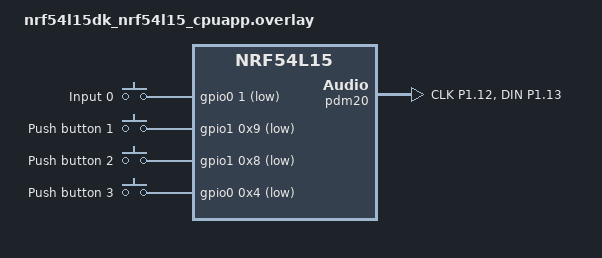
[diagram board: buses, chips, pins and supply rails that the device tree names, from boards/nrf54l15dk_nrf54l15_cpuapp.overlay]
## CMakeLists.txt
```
#
# Copyright (c) 2018 Nordic Semiconductor
#
# SPDX-License-Identifier: LicenseRef-Nordic-5-Clause
#
cmake_minimum_required(VERSION 3.20.0)

find_package(Zephyr REQUIRED HINTS $ENV{ZEPHYR_BASE})
project(ble_opus)

set(OPUS_LIBRARY_ROOT ${CMAKE_CURRENT_LIST_DIR}/../lib CACHE PATH "Opus library root directory")
set(ENV{OPUS_LIBRARY_ROOT} $OPUS_LIBRARY_ROOT)

zephyr_link_libraries(-mfloat-abi=hard)
zephyr_link_libraries(-mfpu=fpv4-sp-d16 -ffunction-sections -fdata-sections -fno-strict-aliasing -mthumb -mabi=aapcs)

# NORDIC SDK APP START
target_sources(app PRIVATE
  src/main.c
  src/ble_app.c
  src/sound_service.c
  src/drivers/drv_mic.c
  src/events/mic_work_event.c
)

# NORDIC SDK APP END
zephyr_library_include_directories(src/drivers/)
zephyr_library_include_directories(src/events/)
# zephyr_library_include_directories(../lib/adpcm_lib)
zephyr_include_directories(../lib/opus/opus_include/opus-1.2.1)
zephyr_include_directories(../lib/opus/opus_configuration)
target_link_libraries(app PRIVATE ${OPUS_LIBRARY_ROOT}/opus/opus_library/opus_lib.a)

# NORDIC SDK APP END
```

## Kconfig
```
#
# Copyright (c) 2018 Nordic Semiconductor
#
# SPDX-License-Identifier: LicenseRef-Nordic-5-Clause
#

source "Kconfig.zephyr"

menu "Nordic UART BLE GATT service sample"

config BT_NUS_THREAD_STACK_SIZE
	int "Thread stack size"
	default 1024
	help
	  Stack size used in each of the two threads

config BT_NUS_UART_BUFFER_SIZE
	int "UART payload buffer element size"
	default 40
	help
	  Size of the payload buffer in each RX and TX FIFO element

config BT_NUS_SECURITY_ENABLED
	bool "Enable security"
	default y
	select BT_SMP
	help
	  "Enable BLE security for the UART service"

config BT_NUS_UART_RX_WAIT_TIME
	int "Timeout for UART RX complete event"
	default 50000
	help
	  Wait for RX complete event time in microseconds

config BT_OPUS_LOG_LEVEL
	int "Log level for this sample"
	default 3


config SETTINGS
	default y

config ZMS
	default y if (SOC_FLASH_NRF_RRAM || SOC_FLASH_NRF_MRAM)

config NVS
	default y if !(SOC_FLASH_NRF_RRAM || SOC_FLASH_NRF_MRAM)

endmenu
```

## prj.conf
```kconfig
#
# Copyright (c) 2018 Nordic Semiconductor
#
# SPDX-License-Identifier: LicenseRef-Nordic-5-Clause
#

# Enable the UART driver
CONFIG_UART_ASYNC_API=y
CONFIG_NRFX_UARTE0=y
CONFIG_SERIAL=y

CONFIG_GPIO=y

# Make sure printk is printing to the UART console
CONFIG_CONSOLE=y
CONFIG_UART_CONSOLE=y

CONFIG_HEAP_MEM_POOL_SIZE=4096
CONFIG_MAIN_STACK_SIZE=4096
CONFIG_SYSTEM_WORKQUEUE_STACK_SIZE=4096

CONFIG_BT=y
CONFIG_BT_PERIPHERAL=y
CONFIG_BT_DEVICE_NAME="ble_microphone_2"
CONFIG_BT_MAX_CONN=1
CONFIG_BT_MAX_PAIRED=1

# Use connection parameters that ensure quick data transfer, CI=20ms
CONFIG_BT_PERIPHERAL_PREF_MIN_INT=12
CONFIG_BT_PERIPHERAL_PREF_MAX_INT=12
CONFIG_BT_PERIPHERAL_PREF_LATENCY=0
CONFIG_BT_PERIPHERAL_PREF_TIMEOUT=400
CONFIG_BT_CTLR_SDC_MAX_CONN_EVENT_LEN_DEFAULT=10000

# update PHY to 2M
CONFIG_BT_USER_PHY_UPDATE=y
CONFIG_BT_CTLR_PHY_2M=y
CONFIG_BT_AUTO_PHY_UPDATE=y

# update MTU to 247
CONFIG_BT_USER_DATA_LEN_UPDATE=y
CONFIG_BT_CTLR_DATA_LENGTH_MAX=251
CONFIG_BT_BUF_ACL_RX_SIZE=251
CONFIG_BT_BUF_ACL_TX_SIZE=251
CONFIG_BT_L2CAP_TX_MTU=247
CONFIG_BT_BUF_EVT_RX_COUNT=11
CONFIG_BT_BUF_ACL_TX_COUNT=10
CONFIG_BT_ATT_TX_COUNT=10
CONFIG_BT_CONN_TX_MAX=10
CONFIG_BT_AUTO_DATA_LEN_UPDATE=y


# Enable the NUS service
CONFIG_BT_NUS=y

# Enable bonding
CONFIG_BT_SETTINGS=y
CONFIG_FLASH=y
CONFIG_FLASH_PAGE_LAYOUT=y
CONFIG_FLASH_MAP=y

# Enable DK LED and Buttons library
CONFIG_DK_LIBRARY=y

#PDM
CONFIG_AUDIO=y
CONFIG_AUDIO_DMIC=y

# Application Event Manager
CONFIG_APP_EVENT_MANAGER=y

CONFIG_THREAD_NAME=y

CONFIG_FPU=y

# Config logger
CONFIG_LOG=y
CONFIG_USE_SEGGER_RTT=n
CONFIG_LOG_BACKEND_RTT=n
CONFIG_LOG_BACKEND_UART=y
CONFIG_LOG_PRINTK=y

CONFIG_BT_GATT_LOG_LEVEL_OFF=y
CONFIG_BT_ATT_LOG_LEVEL_OFF=y

CONFIG_ASSERT=y
```

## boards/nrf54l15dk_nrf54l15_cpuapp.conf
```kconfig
#
# Copyright (c) 2024 Nordic Semiconductor
#
# SPDX-License-Identifier: LicenseRef-Nordic-5-Clause
#

# Disable the unspupported UART0 driver
CONFIG_NRFX_UARTE30=n
```

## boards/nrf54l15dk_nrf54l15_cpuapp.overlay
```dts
/*
 * Copyright (c) 2024 Nordic Semiconductor ASA
 *
 * SPDX-License-Identifier: LicenseRef-Nordic-5-Clause
 */

// / {
// 	chosen {
// 		nordic,nus-uart = &uart20;
// 	};
// };


/{
	soc {
		/delete-node/ cpuflpr_sram;
		/delete-node/ uart30;
	};

	/*
	 * Redefine button1 to use RXD0 - P0.01
	 * Thus, when sending character from host, there will be gpio interrupt,
	 * the same as originally triggered by sw0 button.
	 */
	buttons {
		compatible = "gpio-keys";

		button0: button_0 {
			gpios = <&gpio0 1 0x11 >;
			label = "Input 0";
			zephyr,code = <INPUT_KEY_0>;
		};
		button1: button_1 {
			gpios = < &gpio1 0x9 0x11 >; 
			label = "Push button 1";     
			zephyr,code = < 0x2 >;       
		};
		button2: button_2 {
			gpios = < &gpio1 0x8 0x11 >; 
			label = "Push button 2";   
			zephyr,code = < 0x3 >;       
		};
		button3: button_3 {
			gpios = < &gpio0 0x4 0x11 >; 
			label = "Push button 3";    
			zephyr,code = < 0x4 >;    
		};
	};
};



&pinctrl {
	pdm20_default_alt: pdm20_default_alt {
		group1 {
			psels = <NRF_PSEL(PDM_CLK, 1, 12)>,
				<NRF_PSEL(PDM_DIN, 1, 13)>;
		};
	};
};

dmic_dev: &pdm20 {
	status = "okay";
	pinctrl-0 = <&pdm20_default_alt>;
	pinctrl-names = "default";
	clock-source = "PCLK32M";
};

&cpuapp_sram {
	reg = <0x20000000 DT_SIZE_K(250)>;
	ranges = <0x0 0x20000000 DT_SIZE_K(250)>;
};
```

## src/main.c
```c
/*
 * Copyright (c) 2018 Nordic Semiconductor ASA
 *
 * SPDX-License-Identifier: LicenseRef-Nordic-5-Clause
 */

/** @file
 *  @brief Nordic UART Bridge Service (NUS) sample
 */
#include <uart_async_adapter.h>

#include <zephyr/types.h>
#include <zephyr/kernel.h>
#include <zephyr/drivers/uart.h>
#include <zephyr/usb/usb_device.h>

#include <zephyr/device.h>
#include <zephyr/devicetree.h>
#include <soc.h>

#include <dk_buttons_and_leds.h>
#include <stdio.h>
#include <string.h>

#include <zephyr/logging/log.h>

#include "main.h"
#include "drv_mic.h"
#include "mic_work_event.h"
#include "ble_app.h"


LOG_MODULE_REGISTER(LOG_MODULE_NAME, CONFIG_BT_OPUS_LOG_LEVEL);

#define FW_VERSION					"1.1.7"

K_FIFO_DEFINE(fifo_uart_rx_data);


void error(void)
{
	LOG_ERR("Device enter error!!!!!!!!!!!!!");
	dk_set_leds_state(DK_ALL_LEDS_MSK, DK_NO_LEDS_MSK);

	while (true) {
		/* Spin for ever */
		k_sleep(K_MSEC(1000));
	}
}

void button_changed(uint32_t button_state, uint32_t has_changed)
{
	static bool button_flag = false;
	uint32_t buttons = button_state & has_changed;

	// LOG_INF("Button pressed at %d	 button_flag=0x%08X\n", k_cycle_get_32(), buttons);
	if(buttons & KEY_MICROPHONE_SWITCH)
	{
		button_flag = !button_flag;
	 

	// wake up device and trigger micphone to work
		if(button_flag)
		{
			struct mic_work_event *mic_event = new_mic_work_event();
			mic_event->type = MIC_STATUS_START;
			APP_EVENT_SUBMIT(mic_event);
		}
		else
		{
			struct mic_work_event *mic_event = new_mic_work_event();
			mic_event->type = MIC_STATUS_STOP;
			APP_EVENT_SUBMIT(mic_event);
		}
	}
#ifdef CONFIG_BT_NUS_SECURITY_ENABLED
	else
	{
		confirm_pair_passkey(buttons);
	}
#endif
}


static void configure_gpio(void)
{
	int err;

	err = dk_buttons_init(button_changed);
	if (err) {
		LOG_ERR("Cannot init buttons (err: %d)", err);
	}

	err = dk_leds_init();
	if (err) {
		LOG_ERR("Cannot init LEDs (err: %d)", err);
	}
}

int main(void)
{
	// int blink_status = 0;
	int err = 0;

	LOG_WRN("BLE microphone sample is running, the version is %s\n", FW_VERSION);

	configure_gpio();

	drv_audio_init();

	err = app_event_manager_init();
	if (err) {
		LOG_ERR("Unable to init Application Event Manager (%d)", err);
		return err;
	}

	err = ble_app_init();
	if (err) {
		error();
	}

	// for (;;) {
	// 	// for(uint8_t i = 0; i<4; i++)
	// 	// {
	// 	// 	dk_set_led(i, (blink_status) % 2);
	// 	// }
	// 	// blink_status++;

	// 	dk_set_led(RUN_STATUS_LED, (++blink_status) % 2);
	// 	k_sleep(K_MSEC(RUN_LED_BLINK_INTERVAL));
	// }
}
```

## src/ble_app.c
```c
#include <zephyr/kernel.h>
#include <zephyr/settings/settings.h>
#include <stdio.h>
#include <string.h>

#include <zephyr/bluetooth/bluetooth.h>
#include <zephyr/bluetooth/uuid.h>
#include <zephyr/bluetooth/gatt.h>
#include <zephyr/bluetooth/hci.h>
#include <bluetooth/services/nus.h>
#include <dk_buttons_and_leds.h>
#include <zephyr/logging/log.h>
#include "ble_app.h"
#include "main.h"
#include "sound_service.h"


LOG_MODULE_DECLARE(LOG_MODULE_NAME);


#define STACKSIZE           CONFIG_BT_NUS_THREAD_STACK_SIZE
#define PRIORITY            7

static K_SEM_DEFINE(ble_init_ok, 0, 1);

static struct bt_conn *current_conn;
static struct bt_conn *auth_conn;
static struct k_work adv_work;

static uint8_t device_state = 0;


static const struct bt_data ad[] = {
	BT_DATA_BYTES(BT_DATA_FLAGS, (BT_LE_AD_GENERAL | BT_LE_AD_NO_BREDR)),
	BT_DATA(BT_DATA_NAME_COMPLETE, DEVICE_NAME, DEVICE_NAME_LEN),
};

static const struct bt_data sd[] = {
	BT_DATA_BYTES(BT_DATA_UUID128_ALL, BT_UUID_NUS_VAL),
};


static void adv_work_handler(struct k_work *work)
{
	int err = bt_le_adv_start(BT_LE_ADV_CONN_FAST_2, ad, ARRAY_SIZE(ad), sd, ARRAY_SIZE(sd));

	if (err) {
		LOG_ERR("Advertising failed to start (err %d)", err);
		return;
	}

	LOG_INF("Advertising successfully started");
}

static void advertising_start(void)
{
	k_work_submit(&adv_work);
}


// set device state
static void set_device_status(uint8_t bitmask, int value) {
    if (value == 1) {
        device_state |= bitmask;  // set bit to 1
    } else {
        device_state &= ~bitmask; // set bit to 0
    }
}

// get device state
static uint8_t get_device_status(void) {
    // return (device_state & bitmask) ? 1 : 0;  
	return device_state;
}


static void connected(struct bt_conn *conn, uint8_t err)
{
	char addr[BT_ADDR_LE_STR_LEN];

	if (err) {
		LOG_ERR("Connection failed, err 0x%02x %s", err, bt_hci_err_to_str(err));
		return;
	}

	bt_addr_le_to_str(bt_conn_get_dst(conn), addr, sizeof(addr));
	LOG_INF("Connected %s", addr);

	current_conn = bt_conn_ref(conn);

	dk_set_led_on(CON_STATUS_LED);

	set_device_status(STATUS_CONNECTED, 1);    //set the device status to connected
	set_device_status(STATUS_ADVERTISING, 0);    //clean the advertising status

	k_sem_give(&ble_init_ok);

	struct bt_conn_info info;
	err = bt_conn_get_info(conn, &info);
	if (err) {
		LOG_ERR("bt_conn_get_info() returned %d", err);
		return;
	}
	double connection_interval = info.le.interval*1.25; // in ms
	uint16_t supervision_timeout = info.le.timeout*10; // in ms
	LOG_INF("Connection parameters: interval %.2f ms, latency %d intervals, timeout %d ms", 
			connection_interval, info.le.latency, supervision_timeout);
}

static void disconnected(struct bt_conn *conn, uint8_t reason)
{
	char addr[BT_ADDR_LE_STR_LEN];

	bt_addr_le_to_str(bt_conn_get_dst(conn), addr, sizeof(addr));

	LOG_INF("Disconnected: %s, reason 0x%02x %s", addr, reason, bt_hci_err_to_str(reason));

	if (auth_conn) {
		bt_conn_unref(auth_conn);
		auth_conn = NULL;
	}

	if (current_conn) {
		bt_conn_unref(current_conn);
		current_conn = NULL;
		dk_set_led_off(CON_STATUS_LED);
	}

	set_device_status(STATUS_CONNECTED | STATUS_PAIRED, 0);    //set the device status to disconnected
}

static void recycled_cb(void)
{
	LOG_INF("Connection object available from previous conn. Disconnect is complete!");
	advertising_start();
}

static void on_le_phy_updated(struct bt_conn *conn, struct bt_conn_le_phy_info *param)
{
	// PHY Updated
	if (param->tx_phy == BT_CONN_LE_TX_POWER_PHY_1M) {
		LOG_INF("PHY updated. New PHY: 1M");
	}
	else if (param->tx_phy == BT_CONN_LE_TX_POWER_PHY_2M) {
		LOG_INF("PHY updated. New PHY: 2M");
	}
	else if (param->tx_phy == BT_CONN_LE_TX_POWER_PHY_CODED_S8) {
		LOG_INF("PHY updated. New PHY: Long Range");
	}
}

static void on_le_data_len_updated(struct bt_conn *conn, struct bt_conn_le_data_len_info *info)
{
	uint16_t tx_len     = info->tx_max_len; 
	uint16_t tx_time    = info->tx_max_time;
	uint16_t rx_len     = info->rx_max_len;
	uint16_t rx_time    = info->rx_max_time;
	LOG_INF("Data length updated. Length %d/%d bytes, time %d/%d us", tx_len, rx_len, tx_time, rx_time);
}

#ifdef CONFIG_BT_NUS_SECURITY_ENABLED
static void security_changed(struct bt_conn *conn, bt_security_t level,
			     enum bt_security_err err)
{
	char addr[BT_ADDR_LE_STR_LEN];

	bt_addr_le_to_str(bt_conn_get_dst(conn), addr, sizeof(addr));

	if (!err) {
		LOG_INF("Security changed: %s level %u", addr, level);
	} else {
		LOG_WRN("Security failed: %s level %u err %d %s", addr, level, err,
			bt_security_err_to_str(err));
	}
}
#endif

BT_CONN_CB_DEFINE(conn_callbacks) = {
	.connected        = connected,
	.disconnected     = disconnected,
	.recycled         = recycled_cb,
	.le_phy_updated     = on_le_phy_updated,
	.le_data_len_updated    = on_le_data_len_updated,
#ifdef CONFIG_BT_NUS_SECURITY_ENABLED
	.security_changed = security_changed,
#endif
};

#if defined(CONFIG_BT_NUS_SECURITY_ENABLED)
static void auth_passkey_display(struct bt_conn *conn, unsigned int passkey)
{
	char addr[BT_ADDR_LE_STR_LEN];

	bt_addr_le_to_str(bt_conn_get_dst(conn), addr, sizeof(addr));

	LOG_INF("Passkey for %s: %06u", addr, passkey);
}

static void auth_passkey_confirm(struct bt_conn *conn, unsigned int passkey)
{
	char addr[BT_ADDR_LE_STR_LEN];

	auth_conn = bt_conn_ref(conn);

	bt_addr_le_to_str(bt_conn_get_dst(conn), addr, sizeof(addr));

	LOG_INF("Passkey for %s: %06u", addr, passkey);

	if (IS_ENABLED(CONFIG_SOC_SERIES_NRF54HX) || IS_ENABLED(CONFIG_SOC_SERIES_NRF54LX)) {
		LOG_INF("Press Button 0 to confirm, Button 1 to reject.");
	} else {
		LOG_INF("Press Button 1 to confirm, Button 2 to reject.");
	}
}


static void auth_cancel(struct bt_conn *conn)
{
	char addr[BT_ADDR_LE_STR_LEN];

	bt_addr_le_to_str(bt_conn_get_dst(conn), addr, sizeof(addr));

	LOG_INF("Pairing cancelled: %s", addr);
}


static void pairing_complete(struct bt_conn *conn, bool bonded)
{
	char addr[BT_ADDR_LE_STR_LEN];

	bt_addr_le_to_str(bt_conn_get_dst(conn), addr, sizeof(addr));

	LOG_INF("Pairing completed: %s, bonded: %d", addr, bonded);
}


static void pairing_failed(struct bt_conn *conn, enum bt_security_err reason)
{
	char addr[BT_ADDR_LE_STR_LEN];

	bt_addr_le_to_str(bt_conn_get_dst(conn), addr, sizeof(addr));

	LOG_INF("Pairing failed conn: %s, reason %d %s", addr, reason,
		bt_security_err_to_str(reason));
}

static struct bt_conn_auth_cb conn_auth_callbacks = {
	.passkey_display = auth_passkey_display,
	.passkey_confirm = auth_passkey_confirm,
	.cancel = auth_cancel,
};

static struct bt_conn_auth_info_cb conn_auth_info_callbacks = {
	.pairing_complete = pairing_complete,
	.pairing_failed = pairing_failed
};

static void num_comp_reply(bool accept)
{
	if (accept) {
		bt_conn_auth_passkey_confirm(auth_conn);
		LOG_INF("Numeric Match, conn %p", (void *)auth_conn);
	} else {
		bt_conn_auth_cancel(auth_conn);
		LOG_INF("Numeric Reject, conn %p", (void *)auth_conn);
	}

	bt_conn_unref(auth_conn);
	auth_conn = NULL;
}

void confirm_pair_passkey(uint32_t buttons)
{
    if (auth_conn) 
    {
		if (buttons & KEY_PASSKEY_ACCEPT) {
			num_comp_reply(true);
		}

		if (buttons & KEY_PASSKEY_REJECT) {
			num_comp_reply(false);
		}
	}
}

#else
static struct bt_conn_auth_cb conn_auth_callbacks;
static struct bt_conn_auth_info_cb conn_auth_info_callbacks;
#endif

static void bt_receive_cb(struct bt_conn *conn, const uint8_t *const data,
			  uint16_t len)
{
	// int err;
	char addr[BT_ADDR_LE_STR_LEN] = {0};

	bt_addr_le_to_str(bt_conn_get_dst(conn), addr, ARRAY_SIZE(addr));

	LOG_INF("Received data from: %s", addr);

	for (uint16_t pos = 0; pos != len;) {
		struct uart_data_t *tx = k_malloc(sizeof(*tx));

		if (!tx) {
			LOG_WRN("Not able to allocate UART send data buffer");
			return;
		}

		/* Keep the last byte of TX buffer for potential LF char. */
		size_t tx_data_size = sizeof(tx->data) - 1;

		if ((len - pos) > tx_data_size) {
			tx->len = tx_data_size;
		} else {
			tx->len = (len - pos);
		}

		memcpy(tx->data, &data[pos], tx->len);

		pos += tx->len;

		/* Append the LF character when the CR character triggered
		 * transmission from the peer.
		 */
		if ((pos == len) && (data[len - 1] == '\r')) {
			tx->data[tx->len] = '\n';
			tx->len++;
		}

        LOG_INF("Rec[%d]: %s\n", tx->len, tx->data);
		// err = uart_tx(uart, tx->data, tx->len, SYS_FOREVER_MS);
		// if (err) {
		// 	k_fifo_put(&fifo_uart_tx_data, tx);
		// }
	}
}


static struct bt_nus_cb nus_cb = {
	.received = bt_receive_cb,
};



int ble_app_init(void)
{
    int err = 0;

    if (IS_ENABLED(CONFIG_BT_NUS_SECURITY_ENABLED)) {
		err = bt_conn_auth_cb_register(&conn_auth_callbacks);
		if (err) {
			LOG_ERR("Failed to register authorization callbacks. (err: %d)", err);
			return err;
		}

		err = bt_conn_auth_info_cb_register(&conn_auth_info_callbacks);
		if (err) {
			LOG_ERR("Failed to register authorization info callbacks. (err: %d)", err);
			return err;
		}
	}

	err = bt_enable(NULL);
	if (err) {
		return err;
	}

	LOG_INF("Bluetooth initialized");

	// k_sem_give(&ble_init_ok);

	if (IS_ENABLED(CONFIG_SETTINGS)) {
		settings_load();
	}

	err = bt_nus_init(&nus_cb);
	if (err) {
		LOG_ERR("Failed to initialize UART service (err: %d)", err);
		return err;
	}

	k_work_init(&adv_work, adv_work_handler);
	advertising_start();

    return 0;
}


void ble_write_thread(void)
{
	int err = 0;
	uint8_t sendCount = 0;
	int blink_status = 0;
	/* Don't go any further until BLE is initialized */
	k_sem_take(&ble_init_ok, K_FOREVER);

	for (;;) {
		/* Wait indefinitely for data to be sent over bluetooth */
		
		struct audio_payload tx_payload;

		// if (k_msgq_peek(&m_msgq_tx_payloads, &tx_payload) == 0) 
		if(0 == k_msgq_get(&m_msgq_tx_payloads, &tx_payload, K_FOREVER))
		{
			if (get_device_status() & STATUS_CONNECTED) 
			{
				err = bt_nus_send(NULL, tx_payload.data, tx_payload.length);
				if (err)
				{
					LOG_WRN("Failed to send data over BLE connection, err = %d", err);
				}
				else
				{
					// LOG_INF("Packet send[%d], 0x%02x, 0x%02x, 0x%02x, 0x%02x  ", tx_payload.length,			
					// 		tx_payload.data[0], tx_payload.data[1], tx_payload.data[2], tx_payload.data[3]);
					if(sendCount++ >= 25)
					{
						sendCount = 0;
						dk_set_led(RUN_STATUS_LED, (++blink_status) % 2);
					}	
				}		
			}
			else
			{
				LOG_WRN("Micrphone didn't comnnect to dongle!");
			}
		}	
	}
}

K_THREAD_DEFINE(ble_write_thread_id, STACKSIZE, ble_write_thread, NULL, NULL,
		NULL, PRIORITY, 0, 0);
```

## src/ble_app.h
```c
#ifndef __BLE_APP_H__
#define __BLE_APP_H__


#define DEVICE_NAME                     CONFIG_BT_DEVICE_NAME
#define DEVICE_NAME_LEN	                (sizeof(DEVICE_NAME) - 1)


/** device status bit */
#define STATUS_CONNECTED   (1 << 0)  // bit0:(1) Connected  	(0) Disconnected
#define STATUS_PAIRED      (1 << 1)  // bit1:(1) Paired  		(0) Unpaired
#define STATUS_NUS_READY   (1 << 2)  // bit2:(1) NUS Ready		(0) NUT Not Ready
#define STATUS_ADVERTISING (1 << 3)  // bit3:(1) Advertising 	(0) not advertising
// #define STATUS_BONDED      (1 << 4)  // bit4:(1) stored bond 	(0) no bond


#ifdef CONFIG_BT_NUS_SECURITY_ENABLED
void confirm_pair_passkey(uint32_t buttons);
#endif

int ble_app_init(void);

#endif
```

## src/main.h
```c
#ifndef __MAIN_H__

#define __MAIN_H__

#include <dk_buttons_and_leds.h>

#define LOG_MODULE_NAME 				microphone

#define RUN_STATUS_LED                  DK_LED1
#define RUN_LED_BLINK_INTERVAL          1000

#define CON_STATUS_LED                  DK_LED2
#define MIC_STATUS_LED                  DK_LED3


#define KEY_MICROPHONE_SWITCH           DK_BTN2_MSK
#define KEY_PASSKEY_ACCEPT              DK_BTN3_MSK
#define KEY_PASSKEY_REJECT              DK_BTN4_MSK


#define UART_BUF_SIZE                   CONFIG_BT_NUS_UART_BUFFER_SIZE
#define UART_WAIT_FOR_RX                CONFIG_BT_NUS_UART_RX_WAIT_TIME



struct uart_data_t {
	void *fifo_reserved;
	uint8_t data[UART_BUF_SIZE];
	uint16_t len;
};


// extern struct k_fifo fifo_uart_rx_data;


#endif
```

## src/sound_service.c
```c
#include <zephyr/kernel.h>
#include <zephyr/audio/dmic.h>
#include <zephyr/sys/printk.h>
#include <zephyr/sys/__assert.h>
#include <zephyr/logging/log.h>
#include "sound_service.h"
#include "mic_work_event.h"
#include "main.h"


LOG_MODULE_REGISTER(sound_service, LOG_LEVEL_INF);

#define SOUND_STACK_SIZE        30720
#define SOUND_PRIORITY          5

/* Milliseconds to wait for a block to be read. */
#define READ_TIMEOUT            1000

/** opus variables and functions */
#define OPUS_ENCODER_SIZE   11924


K_MSGQ_DEFINE(m_msgq_tx_payloads, sizeof(struct audio_payload), 100, 4);


__ALIGN(4) static uint8_t m_opus_encoder[OPUS_ENCODER_SIZE];
static OpusEncoder * const m_opus_encoder_state = (OpusEncoder *)m_opus_encoder;

static uint8_t m_opus_complexity = CONFIG_OPUS_COMPLEXITY;
static int32_t m_opus_bitrate    = ((CONFIG_OPUS_BITRATE != 0) ? CONFIG_OPUS_BITRATE : OPUS_AUTO);
static bool m_opus_vbr        = ((CONFIG_OPUS_BITRATE == 0) || (CONFIG_OPUS_VBR_ENABLED != 0));
static uint8_t m_opus_channels   = CONFIG_OPUS_CHANNELS;
static uint32_t packID = 0;

static void opus_encoder_configure(void)
{
	printk("opus_encoder_get_size() = %d\n", opus_encoder_get_size(m_opus_channels));
	__ASSERT_NO_MSG(opus_encoder_get_size(m_opus_channels) <= sizeof(m_opus_encoder));
	__ASSERT_NO_MSG(opus_encoder_init(m_opus_encoder_state, CONFIG_AUDIO_SAMPLING_FREQUENCY, m_opus_channels, OPUS_APPLICATION_RESTRICTED_LOWDELAY) == OPUS_OK);

	__ASSERT_NO_MSG(opus_encoder_ctl(m_opus_encoder_state, OPUS_SET_BITRATE(m_opus_bitrate))                      == OPUS_OK);
	__ASSERT_NO_MSG(opus_encoder_ctl(m_opus_encoder_state, OPUS_SET_VBR(m_opus_vbr))                              == OPUS_OK);
	__ASSERT_NO_MSG(opus_encoder_ctl(m_opus_encoder_state, OPUS_SET_VBR_CONSTRAINT((m_opus_bitrate != OPUS_AUTO)))== OPUS_OK);

	__ASSERT_NO_MSG(opus_encoder_ctl(m_opus_encoder_state, OPUS_SET_COMPLEXITY(m_opus_complexity))                == OPUS_OK);

	__ASSERT_NO_MSG(opus_encoder_ctl(m_opus_encoder_state, OPUS_SET_SIGNAL(OPUS_AUTO))                            == OPUS_OK);
	__ASSERT_NO_MSG(opus_encoder_ctl(m_opus_encoder_state, OPUS_SET_LSB_DEPTH(8))                                == OPUS_OK);
	__ASSERT_NO_MSG(opus_encoder_ctl(m_opus_encoder_state, OPUS_SET_DTX(0))                                       == OPUS_OK);
	__ASSERT_NO_MSG(opus_encoder_ctl(m_opus_encoder_state, OPUS_SET_INBAND_FEC(0))                                == OPUS_OK);
	__ASSERT_NO_MSG(opus_encoder_ctl(m_opus_encoder_state, OPUS_SET_PACKET_LOSS_PERC(0))                          == OPUS_OK);
}


static int ble_opus_package_enqueue(uint32_t idx, uint8_t *buf, uint32_t length)
{
	int ret = 0;
	static struct audio_payload tx_payload;
	if (length > MAX_PAYLOAD_SIZE) {
		LOG_ERR("Payload length %d exceeds maximum %d", length, MAX_PAYLOAD_SIZE);
		return -EMSGSIZE;
	}

	tx_payload.data[0] = idx & 0xFF;  // Set the first byte as the index
	tx_payload.data[1] = (idx >> 8) & 0xFF; // Set the second byte as the index high byte
	tx_payload.data[2] = (idx >> 16) & 0xFF; // Set the third byte as the index high byte
	tx_payload.data[3] = (idx >> 24) & 0xFF; // Set the fourth byte as the index high byte

	memcpy(&tx_payload.data[4], buf, length);
	tx_payload.length = length + 4;
	ret = k_msgq_put(&m_msgq_tx_payloads, &tx_payload, K_NO_WAIT);
	if (ret)  {
		LOG_INF("Audio message queue is full");
		return -ENOMEM;
	}
	return ret;
}


static void mic_data_handle(void *, void *, void *)
{
    void *buffer;
	uint32_t size;

	opus_encoder_configure();

    LOG_INF("Sound service start, wait for PCM data......");

	/** suspend the thread until we received a start event*/
	k_thread_suspend(k_current_get());

    while(1)
    {
        int frame_size;
		uint8_t frame_buf[CONFIG_AUDIO_FRAME_SIZE_BYTES] = {0};

        size = read_audio_data(&buffer, READ_TIMEOUT);
        if(size == CONFIG_AUDIO_FRAME_SIZE_SAMPLES * BYTES_PER_SAMPLE * CONFIG_OPUS_CHANNELS)
        {	
			frame_size = opus_encode(
									m_opus_encoder_state,
									buffer,
									CONFIG_AUDIO_FRAME_SIZE_SAMPLES,
									frame_buf,
									CONFIG_AUDIO_FRAME_SIZE_BYTES
									);
			if(frame_size != CONFIG_AUDIO_FRAME_SIZE_BYTES)
			{
				LOG_ERR("%d", frame_size);
				return;
			}
				
			// LOG_INF("Packet send[%d-%d], 0x%02x, 0x%02x, 0x%02x, 0x%02x  ", size,frame_size,			
			// 	 frame_buf[0],frame_buf[1], frame_buf[2],frame_buf[3]);		

			ble_opus_package_enqueue(packID, frame_buf, frame_size);		//send data to dongle through ble
			packID++;
	
            free_audio_memory(buffer);
		}
		else
		{
			LOG_ERR("Read audio data failed, size = %d", size);
			free_audio_memory(buffer);
		}
    }
}



K_THREAD_DEFINE(sound_service, SOUND_STACK_SIZE,
                mic_data_handle, NULL, NULL, NULL,
                K_PRIO_PREEMPT(3), 0, 0);


// extern void turn_on_off_led(uint8_t idx, bool onOff);
static bool mic_work_event_handler(const struct app_event_header *aeh)
{
	if (is_mic_work_event(aeh)) 
	{
		struct mic_work_event *event = cast_mic_work_event(aeh);
		if (event->type == MIC_STATUS_START) 
		{
            LOG_INF("Micphone start to work!");
			packID = 0;
			drv_mic_start();

			k_thread_resume(sound_service);
			
			dk_set_led_on(MIC_STATUS_LED);
		}
		else if(event->type == MIC_STATUS_STOP)
		{
            LOG_INF("Micphone stop to work!");
			drv_mic_stop();

			k_thread_suspend(sound_service);

			dk_set_led_off(MIC_STATUS_LED);
		}

		return true;
	}
	else
	{
		return false;
	}
}


APP_EVENT_LISTENER(mic_work, mic_work_event_handler);
APP_EVENT_SUBSCRIBE(mic_work, mic_work_event);
```

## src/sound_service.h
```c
#ifndef __SOUND_SERVICE_H__
#define __SOUND_SERVICE_H__

#include "drv_mic.h"
#include "opus.h"
#include "opus_application_config.h"


#define MAX_PAYLOAD_SIZE	(160 + 4) // 80 bytes for Opus payload + 4 bytes for packet ID

/** @brief ble opus payload.
 *
 *  The payload is used both for transmissions and for acknowledging a
 *  received packet with a payload.
 */
struct audio_payload {
    uint8_t dev_id; /**< Device ID, used to identify the device that sent the packet. */
	uint8_t length; /**< Length of the packet when not in DPL mode. */
	uint8_t data[MAX_PAYLOAD_SIZE]; /**< The payload data and devID. */
};


extern struct k_msgq m_msgq_tx_payloads;

#endif
```
